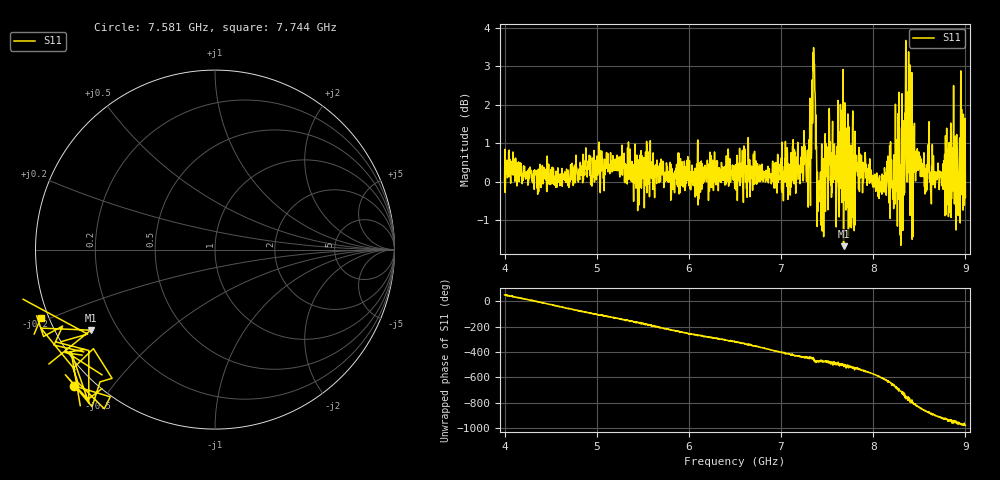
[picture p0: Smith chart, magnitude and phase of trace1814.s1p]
! Created with skrf 1.8.0 (http://scikit-rf.org).
# Hz S RI R 50.0
!freq ReS11 ImS11
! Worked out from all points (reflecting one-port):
!   1601 points, 4 GHz to 9 GHz, reference 50 ohm
!   lowest |S11| = -1.7 dB at 7.678 GHz (marker M1), VSWR 10.42, Z = 5.22 - j14.6 ohm
!   phase of S11 starts at 51 deg and turns -1032 deg over the sweep
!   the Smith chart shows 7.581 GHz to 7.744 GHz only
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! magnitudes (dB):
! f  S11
! 4 GHz  0.0
! 4.625 GHz  -0.1
! 5.25 GHz  0.1
! 5.875 GHz  0.2
! 6.5 GHz  0.0
! 7.125 GHz  0.9
! 7.294 GHz  -0.7
! 7.359 GHz  3.0
! 7.412 GHz  0.0
! 7.456 GHz  0.6
! 7.509 GHz  -0.7
! 7.609 GHz  0.7
! 7.669 GHz  1.0
! 7.678 GHz  -1.7
! 7.75 GHz  0.1
! 7.775 GHz  1.4
! 7.828 GHz  0.2
! 8.209 GHz  -0.1
! 8.262 GHz  -1.2
! 8.316 GHz  0.5
! 8.334 GHz  -0.3
! 8.375 GHz  1.0
! 8.412 GHz  0.9
! 8.556 GHz  -0.1
! 8.872 GHz  2.5
! 8.919 GHz  0.0
! 8.959 GHz  1.9
! 9 GHz  -0.4
